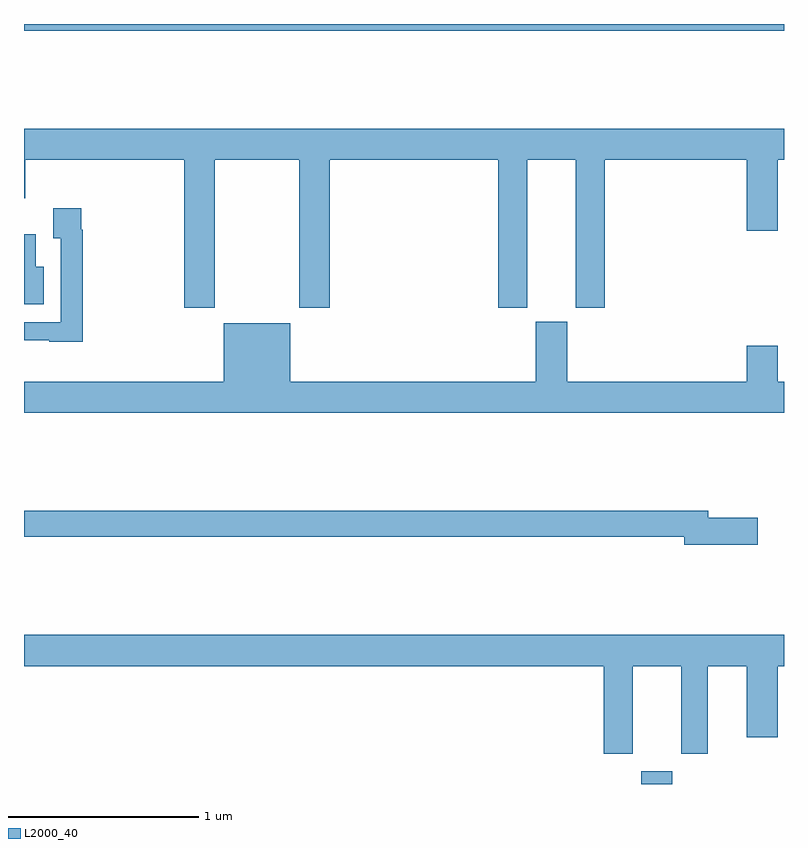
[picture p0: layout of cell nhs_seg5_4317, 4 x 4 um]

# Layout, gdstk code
import gdstk
lib = gdstk.Library(unit=1e-6, precision=1e-09)
def R(c, l, rs):  # rectangles x0, y0, x1, y1
    for r in rs: c.add(gdstk.rectangle(r[:2], r[2:], *l))
def P(c, l, *ps):  # polygons
    for p in ps: c.add(gdstk.Polygon(p, *l))
L2000_40 = (2000, 40)

nhs_seg5_4317 = lib.new_cell('nhs_seg5_4317')
R(nhs_seg5_4317, L2000_40, [(368.249,862.799,368.413,862.867), (365,866.764,369,866.799)])
P(nhs_seg5_4317, L2000_40, [(366.003,866.084),(366.448,866.084),(366.448,865.305),(366.608,865.305),(366.608,866.084),(367.496,866.084),(367.496,865.305),(367.648,865.305),(367.648,866.084),(367.904,866.084),(367.904,865.305),(368.057,865.305),(368.057,866.084),(368.804,866.084),(368.804,865.71),(368.968,865.71),(368.968,866.084),(369,866.084),(369,866.248),(365,866.248),(365,865.882),(365.006,865.882),(365.006,866.084),(365.843,866.084),(365.843,865.305),(366.003,865.305)],
  [(365.309,865.715),(365.302,865.715),(365.302,865.828),(365.153,865.828),(365.153,865.672),(365.193,865.672),(365.193,865.23),(365,865.23),(365,865.134),(365.133,865.134),(365.133,865.127),(365.309,865.127)],
  [(365.104,865.522),(365.062,865.522),(365.062,865.692),(365,865.692),(365,865.325),(365.104,865.325)],
  [(369,864.916),(368.968,864.916),(368.968,865.105),(368.804,865.105),(368.804,864.916),(367.858,864.916),(367.858,865.233),(367.694,865.233),(367.694,864.916),(366.4,864.916),(366.4,865.225),(366.05,865.225),(366.05,864.916),(365,864.916),(365,864.752),(369,864.752)],
  [(368.863,864.2),(368.602,864.2),(368.602,864.236),(365,864.236),(365,864.1),(368.474,864.1),(368.474,864.058),(368.863,864.058)],
  [(368.203,863.42),(368.459,863.42),(368.459,862.959),(368.599,862.959),(368.599,863.42),(368.804,863.42),(368.804,863.046),(368.968,863.046),(368.968,863.42),(369,863.42),(369,863.584),(365,863.584),(365,863.42),(368.051,863.42),(368.051,862.959),(368.203,862.959)])

lib.write_gds('nhs_seg5_4317.gds')
